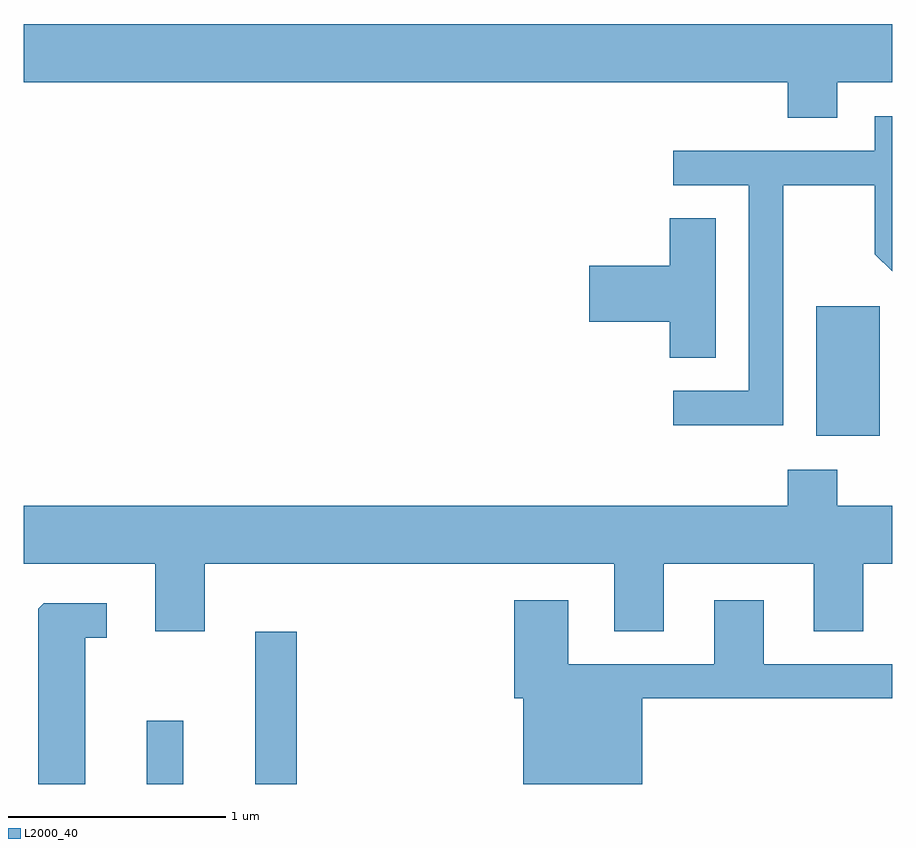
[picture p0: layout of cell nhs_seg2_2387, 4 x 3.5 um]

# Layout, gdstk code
import gdstk
lib = gdstk.Library(unit=1e-6, precision=1e-09)
def R(c, l, rs):  # rectangles x0, y0, x1, y1
    for r in rs: c.add(gdstk.rectangle(r[:2], r[2:], *l))
def P(c, l, *ps):  # polygons
    for p in ps: c.add(gdstk.Polygon(p, *l))
L2000_40 = (2000, 40)

nhs_seg2_2387 = lib.new_cell('nhs_seg2_2387')
R(nhs_seg2_2387, L2000_40, [(256.176,991.802,256.344,992.093), (256.676,991.802,256.869,992.504), (259.261,993.406,259.554,994.004)])
P(nhs_seg2_2387, L2000_40, [(259.359,995.036),(259.611,995.036),(259.611,995.304),(255.611,995.304),(255.611,995.036),(259.131,995.036),(259.131,994.871),(259.359,994.871)],
  [(259.109,994.561),(259.531,994.561),(259.531,994.244),(259.611,994.164),(259.611,994.879),(259.531,994.879),(259.531,994.719),(258.603,994.719),(258.603,994.561),(258.951,994.561),(258.951,993.614),(258.603,993.614),(258.603,993.456),(259.109,993.456)],
  [(258.799,994.409),(258.586,994.409),(258.586,994.189),(258.216,994.189),(258.216,993.931),(258.586,993.931),(258.586,993.766),(258.799,993.766)],
  [(256.444,992.816),(258.331,992.816),(258.331,992.506),(258.559,992.506),(258.559,992.816),(259.251,992.816),(259.251,992.506),(259.479,992.506),(259.479,992.816),(259.611,992.816),(259.611,993.084),(259.359,993.084),(259.359,993.249),(259.131,993.249),(259.131,993.084),(255.611,993.084),(255.611,992.816),(256.216,992.816),(256.216,992.506),(256.444,992.506)],
  [(258.459,992.196),(259.611,992.196),(259.611,992.354),(259.019,992.354),(259.019,992.649),(258.791,992.649),(258.791,992.354),(258.119,992.354),(258.119,992.649),(257.871,992.649),(257.871,992.196),(257.911,992.196),(257.911,991.802),(258.459,991.802)],
  [(255.894,992.476),(255.993,992.476),(255.993,992.634),(255.702,992.634),(255.676,992.609),(255.676,991.802),(255.894,991.802)])

lib.write_gds('nhs_seg2_2387.gds')
